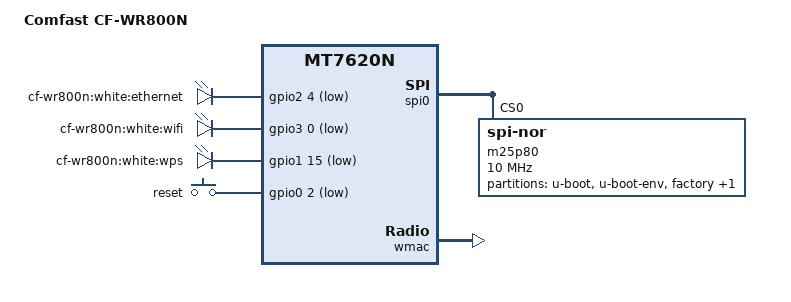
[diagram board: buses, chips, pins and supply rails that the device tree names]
/dts-v1/;

#include "mt7620n.dtsi"

/ {
	compatible = "cf-wr800n", "ralink,mt7620n-soc";
	model = "Comfast CF-WR800N";

	chosen {
		bootargs = "console=ttyS0,115200";
	};

	gpio-leds {
		compatible = "gpio-leds";

		ethernet {
			label = "cf-wr800n:white:ethernet";
			gpios = <&gpio2 4 1>;
		};

		wifi {
			label = "cf-wr800n:white:wifi";
			gpios = <&gpio3 0 1>;
		};

		wps {
			label = "cf-wr800n:white:wps";
			gpios = <&gpio1 15 1>;
		};
	};

	gpio-keys-polled {
		compatible = "gpio-keys-polled";
		#address-cells = <1>;
		#size-cells = <0>;
		poll-interval = <20>;

		reset {
			label = "reset";
			gpios = <&gpio0 2 1>;
			linux,code = <0x198>;
		};
	};
};

&gpio0 {
	status = "okay";
};

&gpio1 {
	status = "okay";
};

&gpio2 {
	status = "okay";
};

&gpio3 {
	status = "okay";
};

&spi0 {
	status = "okay";

	m25p80@0 {
		#address-cells = <1>;
		#size-cells = <1>;
		compatible = "jedec,spi-nor";
		reg = <0>;
		linux,modalias = "m25p80", "w25q64";
		spi-max-frequency = <10000000>;

		partition@0 {
			label = "u-boot";
			reg = <0x0 0x30000>;
			read-only;
		};

		partition@30000 {
			label = "u-boot-env";
			reg = <0x30000 0x10000>;
			read-only;
		};

		factory: partition@40000 {
			label = "factory";
			reg = <0x40000 0x10000>;
			read-only;
		};

		partition@50000 {
			label = "firmware";
			reg = <0x50000 0x7b0000>;
		};
	};
};

&ethernet {
	mtd-mac-address = <&factory 0x4>;
};

&wmac {
	ralink,mtd-eeprom = <&factory 0>;
};

&pinctrl {
	state_default: pinctrl0 {
		default {
			ralink,group = "ephy", "wled", "spi refclk", "i2c";
			ralink,function = "gpio";
		};
	};
};
